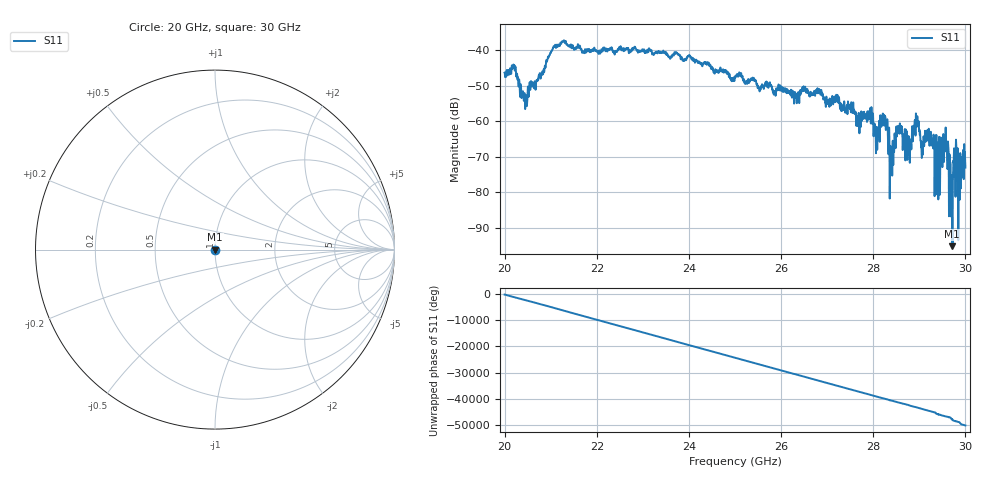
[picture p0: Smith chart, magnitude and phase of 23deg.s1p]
#  HZ  S  RI  R  50.00
! Rohde & Schwarz ZVA40 4Ports - Version 3.90 - 1145.1110k42 SN: 100403
! Date: 2023-10-03 10:30:43
! Measurement: S12
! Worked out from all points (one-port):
!   5001 points, 20 GHz to 30 GHz, reference 50 ohm
!   lowest |S11| = -95.2 dB at 29.71 GHz (marker M1), VSWR 1.00, Z = 50 - j0.000371 ohm
!   |S11| at or under -10 dB: start of sweep to end of sweep
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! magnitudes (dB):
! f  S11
! 20 GHz  -46.2
! 20.2 GHz  -44.4
! 20.45 GHz  -55.5
! 21.05 GHz  -39.3
! 21.25 GHz  -37.5
! 22.5 GHz  -39.5
! 23.75 GHz  -40.9
! 25 GHz  -47.4
! 26.25 GHz  -51.4
! 26.83 GHz  -50.9
! 27.5 GHz  -56.2
! 27.68 GHz  -58.4
! 27.95 GHz  -60.1
! 28.09 GHz  -63.8
! 28.26 GHz  -59.0
! 28.4 GHz  -67.3
! 28.54 GHz  -62.6
! 28.75 GHz  -66.4
! 28.94 GHz  -61.5
! 29.06 GHz  -68.5
! 29.2 GHz  -62.3
! 29.4 GHz  -66.0
! 29.56 GHz  -67.8
! 29.68 GHz  -81.2
! 29.71 GHz  -95.2
! 29.79 GHz  -72.2
! 29.89 GHz  -69.0
! 30 GHz  -73.1
